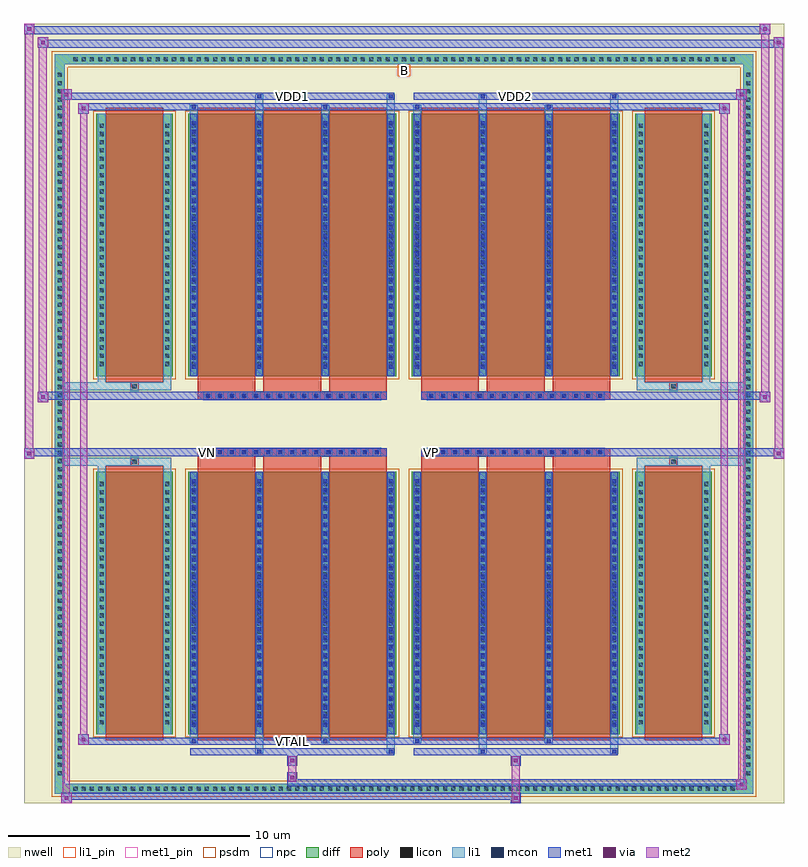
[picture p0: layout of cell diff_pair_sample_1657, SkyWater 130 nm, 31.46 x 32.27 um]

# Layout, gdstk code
import gdstk
lib = gdstk.Library(unit=1e-6, precision=5e-09)
def R(c, l, rs):  # rectangles x0, y0, x1, y1
    for r in rs: c.add(gdstk.rectangle(r[:2], r[2:], *l))
def A(c, l, x, y, w, h, nx, ny, dx, dy):  # array of equal rectangles
    R(c, l, [(x+i*dx, y+j*dy, x+i*dx+w, y+j*dy+h) for i in range(nx) for j in range(ny)])
def P(c, l, *ps):  # polygons
    for p in ps: c.add(gdstk.Polygon(p, *l))
nwell = (64, 20)
diff = (65, 20)
poly = (66, 20)
licon = (66, 44)
li1_pin = (67, 16)
li1 = (67, 20)
mcon = (67, 44)
met1_pin = (68, 16)
met1 = (68, 20)
via = (68, 44)
met2 = (69, 20)
psdm = (94, 20)
npc = (95, 20)

diff_pair_sample_1657 = lib.new_cell('diff_pair_sample_1657')
R(diff_pair_sample_1657, nwell, [(-15.73,-15.7,15.73,16.57), (-13.05,-13.89,-0.01,-0.805), (0.01,-13.89,13.05,-0.805), (-13.05,0.805,-0.01,13.89), (0.01,0.805,13.05,13.89)])
A(diff_pair_sample_1657, diff, -13.805, -15.3, 0.41, 0.41, 81, 2, 0.34, 30.19)
A(diff_pair_sample_1657, diff, -14.46, -14.655, 0.41, 0.41, 1, 86, 0, 0.34)
A(diff_pair_sample_1657, diff, 14.05, -14.655, 0.41, 0.41, 1, 86, 0, 0.34)
R(diff_pair_sample_1657, diff, [(-13.805,-15.3,13.805,-14.89), (-14.46,-14.655,-14.05,14.655), (14.05,-14.655,14.46,14.655), (-12.74,-12.845,-9.57,-1.985), (-8.93,-12.845,-0.32,-1.985), (0.32,-12.845,8.93,-1.985), (9.57,-12.845,12.74,-1.985), (-12.74,1.985,-9.57,12.845), (-8.93,1.985,-0.32,12.845), (0.32,1.985,8.93,12.845), (9.57,1.985,12.74,12.845), (-13.805,14.89,13.805,15.3)])
P(diff_pair_sample_1657, diff, [(14.46,15.3),(-14.46,15.3),(-14.46,-14.89),(-14.05,-14.89),(-14.05,14.89),(14.05,14.89),(14.05,-14.89),(-14.05,-14.89),(-14.46,-14.89),(-14.46,-15.3),(14.46,-15.3)])
A(diff_pair_sample_1657, poly, -8.54, -13.095, 2.39, 11.36, 3, 2, 2.72, 14.83)
A(diff_pair_sample_1657, poly, 0.71, -13.095, 2.39, 11.36, 3, 2, 2.72, 14.83)
A(diff_pair_sample_1657, poly, -8.54, -1.735, 2.39, 0.4, 3, 2, 2.72, 3.07)
A(diff_pair_sample_1657, poly, 0.71, -1.735, 2.39, 0.4, 3, 2, 2.72, 3.07)
A(diff_pair_sample_1657, poly, -8.29, -1.335, 0.33, 0.33, 15, 2, 0.5, 2.34)
A(diff_pair_sample_1657, poly, 0.96, -1.335, 0.33, 0.33, 15, 2, 0.5, 2.34)
R(diff_pair_sample_1657, poly, [(-12.35,-13.095,-9.96,-1.735), (9.96,-13.095,12.35,-1.735), (-11.32,-1.735,-10.99,-1.405), (-11.32,-1.735,-10.99,-1.405), (10.99,-1.735,11.32,-1.405), (10.99,-1.735,11.32,-1.405), (-8.54,-1.335,-0.71,-1.005), (0.71,-1.335,8.54,-1.005), (-8.54,1.005,-0.71,1.335), (0.71,1.005,8.54,1.335), (-11.32,1.405,-10.99,1.735), (-11.32,1.405,-10.99,1.735), (10.99,1.405,11.32,1.735), (10.99,1.405,11.32,1.735), (-12.35,1.735,-9.96,13.095), (9.96,1.735,12.35,13.095)])
A(diff_pair_sample_1657, licon, -13.685, -15.18, 0.17, 0.17, 81, 2, 0.34, 30.19)
A(diff_pair_sample_1657, licon, -14.34, -14.535, 0.17, 0.17, 1, 86, 0, 0.34)
A(diff_pair_sample_1657, licon, 14.17, -14.535, 0.17, 0.17, 1, 86, 0, 0.34)
A(diff_pair_sample_1657, licon, -12.6, -12.43, 0.17, 0.17, 1, 30, 0, 0.34)
A(diff_pair_sample_1657, licon, -9.88, -12.43, 0.17, 0.17, 1, 30, 0, 0.34)
A(diff_pair_sample_1657, licon, -8.79, -12.43, 0.17, 0.17, 4, 30, 2.72, 0.34)
A(diff_pair_sample_1657, licon, 0.46, -12.43, 0.17, 0.17, 4, 30, 2.72, 0.34)
A(diff_pair_sample_1657, licon, 9.71, -12.43, 0.17, 0.17, 1, 30, 0, 0.34)
A(diff_pair_sample_1657, licon, 12.43, -12.43, 0.17, 0.17, 1, 30, 0, 0.34)
A(diff_pair_sample_1657, licon, -8.21, -1.255, 0.17, 0.17, 15, 2, 0.5, 2.34)
A(diff_pair_sample_1657, licon, 1.04, -1.255, 0.17, 0.17, 15, 2, 0.5, 2.34)
A(diff_pair_sample_1657, licon, -12.6, 2.4, 0.17, 0.17, 1, 30, 0, 0.34)
A(diff_pair_sample_1657, licon, -9.88, 2.4, 0.17, 0.17, 1, 30, 0, 0.34)
A(diff_pair_sample_1657, licon, -8.79, 2.4, 0.17, 0.17, 4, 30, 2.72, 0.34)
A(diff_pair_sample_1657, licon, 0.46, 2.4, 0.17, 0.17, 4, 30, 2.72, 0.34)
A(diff_pair_sample_1657, licon, 9.71, 2.4, 0.17, 0.17, 1, 30, 0, 0.34)
A(diff_pair_sample_1657, licon, 12.43, 2.4, 0.17, 0.17, 1, 30, 0, 0.34)
R(diff_pair_sample_1657, licon, [(-11.24,-1.655,-11.07,-1.485), (11.07,-1.655,11.24,-1.485), (-11.24,1.485,-11.07,1.655), (11.07,1.485,11.24,1.655)])
R(diff_pair_sample_1657, li1_pin, [(-0.25,14.39,0.25,14.89)])
A(diff_pair_sample_1657, li1, -13.765, -15.26, 0.33, 0.33, 81, 2, 0.34, 30.19)
A(diff_pair_sample_1657, li1, -14.42, -14.615, 0.33, 0.33, 1, 86, 0, 0.34)
A(diff_pair_sample_1657, li1, 14.09, -14.615, 0.33, 0.33, 1, 86, 0, 0.34)
A(diff_pair_sample_1657, li1, -8.87, -12.845, 0.33, 10.86, 4, 2, 2.72, 14.83)
A(diff_pair_sample_1657, li1, 0.38, -12.845, 0.33, 10.86, 4, 2, 2.72, 14.83)
A(diff_pair_sample_1657, li1, -8.79, -12.54, 0.17, 0.17, 4, 29, 2.72, 0.36)
A(diff_pair_sample_1657, li1, -8.79, -12.54, 0.17, 10.25, 4, 2, 2.72, 14.83)
A(diff_pair_sample_1657, li1, 0.46, -12.54, 0.17, 0.17, 4, 29, 2.72, 0.36)
A(diff_pair_sample_1657, li1, 0.46, -12.54, 0.17, 10.25, 4, 2, 2.72, 14.83)
A(diff_pair_sample_1657, li1, -12.68, -12.51, 0.33, 0.33, 1, 30, 0, 0.34)
A(diff_pair_sample_1657, li1, -9.96, -12.51, 0.33, 0.33, 1, 30, 0, 0.34)
A(diff_pair_sample_1657, li1, -8.87, -12.51, 0.33, 0.33, 4, 30, 2.72, 0.34)
A(diff_pair_sample_1657, li1, 0.38, -12.51, 0.33, 0.33, 4, 30, 2.72, 0.34)
A(diff_pair_sample_1657, li1, 9.63, -12.51, 0.33, 0.33, 1, 30, 0, 0.34)
A(diff_pair_sample_1657, li1, 12.35, -12.51, 0.33, 0.33, 1, 30, 0, 0.34)
A(diff_pair_sample_1657, li1, -8.29, -1.335, 0.33, 0.33, 15, 2, 0.5, 2.34)
A(diff_pair_sample_1657, li1, 0.96, -1.335, 0.33, 0.33, 15, 2, 0.5, 2.34)
A(diff_pair_sample_1657, li1, -8.79, 2.29, 0.17, 0.17, 4, 29, 2.72, 0.36)
A(diff_pair_sample_1657, li1, 0.46, 2.29, 0.17, 0.17, 4, 29, 2.72, 0.36)
A(diff_pair_sample_1657, li1, -12.68, 2.32, 0.33, 0.33, 1, 30, 0, 0.34)
A(diff_pair_sample_1657, li1, -9.96, 2.32, 0.33, 0.33, 1, 30, 0, 0.34)
A(diff_pair_sample_1657, li1, -8.87, 2.32, 0.33, 0.33, 4, 30, 2.72, 0.34)
A(diff_pair_sample_1657, li1, 0.38, 2.32, 0.33, 0.33, 4, 30, 2.72, 0.34)
A(diff_pair_sample_1657, li1, 9.63, 2.32, 0.33, 0.33, 1, 30, 0, 0.34)
A(diff_pair_sample_1657, li1, 12.35, 2.32, 0.33, 0.33, 1, 30, 0, 0.34)
R(diff_pair_sample_1657, li1, [(-14.46,-15.3,-14.05,-14.89), (-14.46,-15.3,-14.05,-14.89), (-14.05,-15.3,14.05,-14.89), (14.05,-15.3,14.46,-14.89), (14.05,-15.3,14.46,-14.89), (-14.46,-14.89,-14.05,14.89), (14.05,-14.89,14.46,14.89), (-6.15,-13.65,-5.82,-12.845), (-6.07,-13.65,-5.9,-13.48), (-0.71,-13.65,-0.38,-12.845), (-0.63,-13.65,-0.46,-13.48), (3.1,-13.65,3.43,-12.845), (3.18,-13.65,3.35,-13.48), (8.54,-13.65,8.87,-12.845), (8.62,-13.65,8.79,-13.48), (-8.87,-13.22,-8.54,-12.845), (-8.79,-13.22,-8.62,-13.05), (-3.43,-13.22,-3.1,-12.845), (-3.35,-13.22,-3.18,-13.05), (0.38,-13.22,0.71,-12.845), (0.46,-13.22,0.63,-13.05), (5.82,-13.22,6.15,-12.845), (5.9,-13.22,6.07,-13.05), (-12.68,-12.845,-12.35,-1.985), (-9.96,-12.845,-9.63,-1.985), (9.63,-12.845,9.96,-1.985), (12.35,-12.845,12.68,-1.985), (-12.68,-1.985,-12.35,-1.405), (-9.96,-1.985,-9.63,-1.405), (9.63,-1.985,9.96,-1.405), (12.35,-1.985,12.68,-1.405), (-14.46,-1.735,-11.32,-1.405), (-12.68,-1.735,-11.32,-1.405), (-11.32,-1.735,-10.99,-1.405), (-10.99,-1.735,-9.63,-1.405), (9.63,-1.735,10.99,-1.405), (10.99,-1.735,11.32,-1.405), (10.99,-1.735,14.46,-1.405), (11.32,-1.735,12.68,-1.405), (-14.46,1.405,-11.32,1.735), (-12.68,1.405,-11.32,1.735), (-12.68,1.405,-12.35,1.985), (-11.32,1.405,-10.99,1.735), (-10.99,1.405,-9.63,1.735), (-9.96,1.405,-9.63,1.985), (9.63,1.405,10.99,1.735), (9.63,1.405,9.96,1.985), (10.99,1.405,11.32,1.735), (10.99,1.405,14.46,1.735), (11.32,1.405,12.68,1.735), (12.35,1.405,12.68,1.985), (-12.68,1.985,-12.35,12.845), (-9.96,1.985,-9.63,12.845), (9.63,1.985,9.96,12.845), (12.35,1.985,12.68,12.845), (-8.87,12.845,-8.54,13.22), (-6.15,12.845,-5.82,13.65), (-3.43,12.845,-3.1,13.22), (-0.71,12.845,-0.38,13.65), (0.38,12.845,0.71,13.22), (3.1,12.845,3.43,13.65), (5.82,12.845,6.15,13.22), (8.54,12.845,8.87,13.65), (-8.79,13.05,-8.62,13.22), (-3.35,13.05,-3.18,13.22), (0.46,13.05,0.63,13.22), (5.9,13.05,6.07,13.22), (-6.07,13.48,-5.9,13.65), (-0.63,13.48,-0.46,13.65), (3.18,13.48,3.35,13.65), (8.62,13.48,8.79,13.65), (-14.46,14.89,-14.05,15.3), (-14.46,14.89,-14.05,15.3), (-14.05,14.89,14.05,15.3), (14.05,14.89,14.46,15.3), (14.05,14.89,14.46,15.3)])
A(diff_pair_sample_1657, mcon, -8.79, -12.54, 0.17, 0.17, 4, 29, 2.72, 0.36)
A(diff_pair_sample_1657, mcon, 0.46, -12.54, 0.17, 0.17, 4, 29, 2.72, 0.36)
A(diff_pair_sample_1657, mcon, -8.21, -1.255, 0.17, 0.17, 15, 2, 0.5, 2.34)
A(diff_pair_sample_1657, mcon, 1.04, -1.255, 0.17, 0.17, 15, 2, 0.5, 2.34)
A(diff_pair_sample_1657, mcon, -8.79, 2.29, 0.17, 0.17, 4, 29, 2.72, 0.36)
A(diff_pair_sample_1657, mcon, 0.46, 2.29, 0.17, 0.17, 4, 29, 2.72, 0.36)
R(diff_pair_sample_1657, mcon, [(-6.07,-13.65,-5.9,-13.48), (-0.63,-13.65,-0.46,-13.48), (3.18,-13.65,3.35,-13.48), (8.62,-13.65,8.79,-13.48), (-8.79,-13.22,-8.62,-13.05), (-3.35,-13.22,-3.18,-13.05), (0.46,-13.22,0.63,-13.05), (5.9,-13.22,6.07,-13.05), (-8.79,13.05,-8.62,13.22), (-3.35,13.05,-3.18,13.22), (0.46,13.05,0.63,13.22), (5.9,13.05,6.07,13.22), (-6.07,13.48,-5.9,13.65), (-0.63,13.48,-0.46,13.65), (3.18,13.48,3.35,13.65), (8.62,13.48,8.79,13.65)])
R(diff_pair_sample_1657, met1_pin, [(-4.76,-13.26,-4.49,-12.99), (-8.26,-1.295,-7.99,-1.025), (0.99,-1.295,1.26,-1.025), (-4.76,13.44,-4.49,13.71), (4.49,13.44,4.76,13.71)])
A(diff_pair_sample_1657, met1, -8.85, -12.845, 0.29, 10.86, 4, 2, 2.72, 14.83)
A(diff_pair_sample_1657, met1, 0.4, -12.845, 0.29, 10.86, 4, 2, 2.72, 14.83)
A(diff_pair_sample_1657, met1, -8.85, -12.6, 0.29, 0.29, 4, 29, 2.72, 0.36)
A(diff_pair_sample_1657, met1, 0.4, -12.6, 0.29, 0.29, 4, 29, 2.72, 0.36)
A(diff_pair_sample_1657, met1, -8.27, -1.315, 0.29, 0.29, 15, 2, 0.5, 2.34)
A(diff_pair_sample_1657, met1, 0.98, -1.315, 0.29, 0.29, 15, 2, 0.5, 2.34)
A(diff_pair_sample_1657, met1, -8.85, 2.23, 0.29, 0.29, 4, 29, 2.72, 0.36)
A(diff_pair_sample_1657, met1, 0.4, 2.23, 0.29, 0.29, 4, 29, 2.72, 0.36)
R(diff_pair_sample_1657, met1, [(-14.19,-15.7,-13.76,-15.27), (4.41,-15.7,4.84,-15.27), (-14.19,-15.56,4.84,-15.27), (13.76,-15.13,14.19,-14.7), (-4.84,-14.99,14.19,-14.7), (-4.84,-14.85,-4.41,-14.42), (-4.84,-14.14,-4.41,-13.71), (4.41,-14.14,4.84,-13.71), (-8.85,-13.71,-0.4,-13.42), (-6.13,-13.71,-5.84,-13.42), (-0.69,-13.71,-0.4,-13.42), (0.4,-13.71,8.85,-13.42), (3.12,-13.71,3.41,-13.42), (8.56,-13.71,8.85,-13.42), (-13.48,-13.28,-13.05,-12.85), (-13.48,-13.28,-8.85,-12.99), (-8.85,-13.28,-8.56,-12.99), (-8.85,-13.28,-0.4,-12.99), (-3.41,-13.28,-3.12,-12.99), (-0.4,-13.28,0.4,-12.99), (0.4,-13.28,0.69,-12.99), (0.4,-13.28,8.85,-12.99), (5.84,-13.28,6.13,-12.99), (8.85,-13.28,13.48,-12.99), (13.05,-13.28,13.48,-12.85), (-15.73,-1.435,-15.3,-1.005), (15.3,-1.435,15.73,-1.005), (-15.73,-1.335,-0.71,-1.005), (-8.54,-1.335,-0.71,-1.005), (0.71,-1.335,8.54,-1.005), (0.71,-1.335,15.73,-1.005), (-15.16,0.905,-14.73,1.335), (14.73,0.905,15.16,1.335), (-15.16,1.005,-8.54,1.335), (-8.54,1.005,-0.71,1.335), (0.71,1.005,8.54,1.335), (8.54,1.005,15.16,1.335), (-13.48,12.85,-13.05,13.28), (13.05,12.85,13.48,13.28), (-13.48,12.99,-8.85,13.28), (-8.85,12.99,-8.56,13.28), (-8.85,12.99,-0.4,13.28), (-3.41,12.99,-3.12,13.28), (-0.4,12.99,0.4,13.28), (0.4,12.99,0.69,13.28), (0.4,12.99,8.85,13.28), (5.84,12.99,6.13,13.28), (8.85,12.99,13.48,13.28), (-14.19,13.42,-13.76,13.85), (-14.19,13.42,-8.85,13.71), (-8.85,13.42,-0.4,13.71), (-6.13,13.42,-5.84,13.71), (-0.69,13.42,-0.4,13.71), (0.4,13.42,8.85,13.71), (3.12,13.42,3.41,13.71), (8.56,13.42,8.85,13.71), (8.85,13.42,14.19,13.71), (13.76,13.42,14.19,13.85), (-15.16,15.57,-14.73,16), (-15.16,15.57,-13.05,15.9), (-13.05,15.57,13.05,15.9), (13.05,15.57,15.73,15.9), (15.3,15.57,15.73,16), (-15.73,16.14,-15.3,16.57), (-15.73,16.14,-13.05,16.47), (-13.05,16.14,13.05,16.47), (13.05,16.14,15.16,16.47), (14.73,16.14,15.16,16.57)])
R(diff_pair_sample_1657, via, [(-14.05,-15.56,-13.9,-15.41), (4.55,-15.56,4.7,-15.41), (13.9,-14.99,14.05,-14.84), (-4.7,-14.71,-4.55,-14.56), (-4.7,-14,-4.55,-13.85), (4.55,-14,4.7,-13.85), (-13.34,-13.14,-13.19,-12.99), (13.19,-13.14,13.34,-12.99), (-15.59,-1.295,-15.44,-1.145), (15.44,-1.295,15.59,-1.145), (-15.02,1.045,-14.87,1.195), (14.87,1.045,15.02,1.195), (-13.34,12.99,-13.19,13.14), (13.19,12.99,13.34,13.14), (-14.05,13.56,-13.9,13.71), (13.9,13.56,14.05,13.71), (-15.02,15.71,-14.87,15.86), (15.44,15.71,15.59,15.86), (-15.59,16.28,-15.44,16.43), (14.87,16.28,15.02,16.43)])
R(diff_pair_sample_1657, met2, [(-14.19,-15.7,-13.76,-15.27), (-14.12,-15.7,-13.83,13.85), (-13.83,-15.7,-13.76,-15.27), (-14.14,-15.65,-13.81,-15.32), (4.46,-15.65,4.79,-15.32), (4.46,-15.32,4.79,-14.09), (13.76,-15.13,14.19,-14.7), (13.83,-15.13,14.12,13.85), (14.12,-15.13,14.19,-14.7), (13.81,-15.08,14.14,-14.75), (-4.79,-14.8,-4.46,-14.47), (-4.79,-14.47,-4.46,-14.09), (-4.79,-14.09,-4.46,-13.76), (4.46,-14.09,4.79,-13.76), (-13.48,-13.28,-13.05,-12.85), (-13.41,-13.28,-13.12,13.28), (-13.12,-13.28,-13.05,-12.85), (13.05,-13.28,13.48,-12.85), (13.12,-13.28,13.41,13.28), (13.41,-13.28,13.48,-12.85), (-13.43,-13.23,-13.1,-12.9), (13.1,-13.23,13.43,-12.9), (-15.73,-1.435,-15.3,-1.005), (-15.68,-1.435,-15.35,16.57), (-15.35,-1.435,-15.3,-1.005), (15.3,-1.435,15.73,-1.005), (15.35,-1.435,15.68,16), (15.68,-1.435,15.73,-1.005), (-15.68,-1.385,-15.35,-1.055), (15.35,-1.385,15.68,-1.055), (-15.16,0.905,-14.73,1.335), (-15.11,0.905,-14.78,16), (-14.78,0.905,-14.73,1.335), (14.73,0.905,15.16,1.335), (14.78,0.905,15.11,16.57), (15.11,0.905,15.16,1.335), (-15.11,0.955,-14.78,1.285), (14.78,0.955,15.11,1.285), (-13.48,12.85,-13.05,13.28), (-13.12,12.85,-13.05,13.28), (13.05,12.85,13.48,13.28), (13.41,12.85,13.48,13.28), (-13.43,12.9,-13.1,13.23), (13.1,12.9,13.43,13.23), (-14.19,13.42,-13.76,13.85), (-13.83,13.42,-13.76,13.85), (13.76,13.42,14.19,13.85), (14.12,13.42,14.19,13.85), (-14.14,13.47,-13.81,13.8), (13.81,13.47,14.14,13.8), (-15.16,15.57,-14.73,16), (-14.78,15.57,-14.73,16), (15.3,15.57,15.73,16), (15.68,15.57,15.73,16), (-15.11,15.62,-14.78,15.95), (15.35,15.62,15.68,15.95), (-15.73,16.14,-15.3,16.57), (-15.35,16.14,-15.3,16.57), (14.73,16.14,15.16,16.57), (15.11,16.14,15.16,16.57), (-15.68,16.19,-15.35,16.52), (14.78,16.19,15.11,16.52)])
R(diff_pair_sample_1657, psdm, [(-12.87,-12.975,-9.44,-1.855), (-9.06,-12.975,-0.19,-1.855), (0.19,-12.975,9.06,-1.855), (9.44,-12.975,12.87,-1.855), (-12.87,1.855,-9.44,12.975), (-9.06,1.855,-0.19,12.975), (0.19,1.855,9.06,12.975), (9.44,1.855,12.87,12.975)])
P(diff_pair_sample_1657, psdm, [(14.59,15.43),(-14.59,15.43),(-14.59,-14.76),(-13.92,-14.76),(-13.92,14.76),(13.92,14.76),(13.92,-14.76),(-13.92,-14.76),(-14.59,-14.76),(-14.59,-15.43),(14.59,-15.43)])
A(diff_pair_sample_1657, npc, -8.31, -1.355, 0.37, 0.37, 15, 2, 0.5, 2.34)
A(diff_pair_sample_1657, npc, 0.94, -1.355, 0.37, 0.37, 15, 2, 0.5, 2.34)
R(diff_pair_sample_1657, npc, [(-11.34,-1.755,-10.97,-1.385), (10.97,-1.755,11.34,-1.385), (-8.31,-1.355,-7.44,-0.985), (-8.31,-1.355,-7.44,-0.985), (-7.81,-1.355,-6.94,-0.985), (-7.81,-1.355,-6.94,-0.985), (-7.31,-1.355,-6.44,-0.985), (-7.31,-1.355,-6.44,-0.985), (-6.81,-1.355,-5.94,-0.985), (-6.81,-1.355,-5.94,-0.985), (-6.31,-1.355,-5.44,-0.985), (-6.31,-1.355,-5.44,-0.985), (-5.81,-1.355,-4.94,-0.985), (-5.81,-1.355,-4.94,-0.985), (-5.31,-1.355,-4.44,-0.985), (-5.31,-1.355,-4.44,-0.985), (-4.81,-1.355,-3.94,-0.985), (-4.81,-1.355,-3.94,-0.985), (-4.31,-1.355,-3.44,-0.985), (-4.31,-1.355,-3.44,-0.985), (-3.81,-1.355,-2.94,-0.985), (-3.81,-1.355,-2.94,-0.985), (-3.31,-1.355,-2.44,-0.985), (-3.31,-1.355,-2.44,-0.985), (-2.81,-1.355,-1.94,-0.985), (-2.81,-1.355,-1.94,-0.985), (-2.31,-1.355,-1.44,-0.985), (-2.31,-1.355,-1.44,-0.985), (-1.81,-1.355,-0.94,-0.985), (-1.81,-1.355,-0.94,-0.985), (0.94,-1.355,1.81,-0.985), (0.94,-1.355,1.81,-0.985), (1.44,-1.355,2.31,-0.985), (1.44,-1.355,2.31,-0.985), (1.94,-1.355,2.81,-0.985), (1.94,-1.355,2.81,-0.985), (2.44,-1.355,3.31,-0.985), (2.44,-1.355,3.31,-0.985), (2.94,-1.355,3.81,-0.985), (2.94,-1.355,3.81,-0.985), (3.44,-1.355,4.31,-0.985), (3.44,-1.355,4.31,-0.985), (3.94,-1.355,4.81,-0.985), (3.94,-1.355,4.81,-0.985), (4.44,-1.355,5.31,-0.985), (4.44,-1.355,5.31,-0.985), (4.94,-1.355,5.81,-0.985), (4.94,-1.355,5.81,-0.985), (5.44,-1.355,6.31,-0.985), (5.44,-1.355,6.31,-0.985), (5.94,-1.355,6.81,-0.985), (5.94,-1.355,6.81,-0.985), (6.44,-1.355,7.31,-0.985), (6.44,-1.355,7.31,-0.985), (6.94,-1.355,7.81,-0.985), (6.94,-1.355,7.81,-0.985), (7.44,-1.355,8.31,-0.985), (7.44,-1.355,8.31,-0.985), (-8.31,0.985,-7.44,1.355), (-8.31,0.985,-7.44,1.355), (-7.81,0.985,-6.94,1.355), (-7.81,0.985,-6.94,1.355), (-7.31,0.985,-6.44,1.355), (-7.31,0.985,-6.44,1.355), (-6.81,0.985,-5.94,1.355), (-6.81,0.985,-5.94,1.355), (-6.31,0.985,-5.44,1.355), (-6.31,0.985,-5.44,1.355), (-5.81,0.985,-4.94,1.355), (-5.81,0.985,-4.94,1.355), (-5.31,0.985,-4.44,1.355), (-5.31,0.985,-4.44,1.355), (-4.81,0.985,-3.94,1.355), (-4.81,0.985,-3.94,1.355), (-4.31,0.985,-3.44,1.355), (-4.31,0.985,-3.44,1.355), (-3.81,0.985,-2.94,1.355), (-3.81,0.985,-2.94,1.355), (-3.31,0.985,-2.44,1.355), (-3.31,0.985,-2.44,1.355), (-2.81,0.985,-1.94,1.355), (-2.81,0.985,-1.94,1.355), (-2.31,0.985,-1.44,1.355), (-2.31,0.985,-1.44,1.355), (-1.81,0.985,-0.94,1.355), (-1.81,0.985,-0.94,1.355), (0.94,0.985,1.81,1.355), (0.94,0.985,1.81,1.355), (1.44,0.985,2.31,1.355), (1.44,0.985,2.31,1.355), (1.94,0.985,2.81,1.355), (1.94,0.985,2.81,1.355), (2.44,0.985,3.31,1.355), (2.44,0.985,3.31,1.355), (2.94,0.985,3.81,1.355), (2.94,0.985,3.81,1.355), (3.44,0.985,4.31,1.355), (3.44,0.985,4.31,1.355), (3.94,0.985,4.81,1.355), (3.94,0.985,4.81,1.355), (4.44,0.985,5.31,1.355), (4.44,0.985,5.31,1.355), (4.94,0.985,5.81,1.355), (4.94,0.985,5.81,1.355), (5.44,0.985,6.31,1.355), (5.44,0.985,6.31,1.355), (5.94,0.985,6.81,1.355), (5.94,0.985,6.81,1.355), (6.44,0.985,7.31,1.355), (6.44,0.985,7.31,1.355), (6.94,0.985,7.81,1.355), (6.94,0.985,7.81,1.355), (7.44,0.985,8.31,1.355), (7.44,0.985,8.31,1.355), (-11.34,1.385,-10.97,1.755), (10.97,1.385,11.34,1.755)])
diff_pair_sample_1657.add(gdstk.Label('VTAIL', (-4.625,-13.125), layer=68, texttype=5))
diff_pair_sample_1657.add(gdstk.Label('VN', (-8.125,-1.16), layer=68, texttype=5))
diff_pair_sample_1657.add(gdstk.Label('VP', (1.125,-1.16), layer=68, texttype=5))
diff_pair_sample_1657.add(gdstk.Label('B', (0,14.64), layer=67, texttype=5))
diff_pair_sample_1657.add(gdstk.Label('VDD2', (4.625,13.575), layer=68, texttype=5))
diff_pair_sample_1657.add(gdstk.Label('VDD1', (-4.625,13.575), layer=68, texttype=5))

lib.write_gds('diff_pair_sample_1657.gds')
